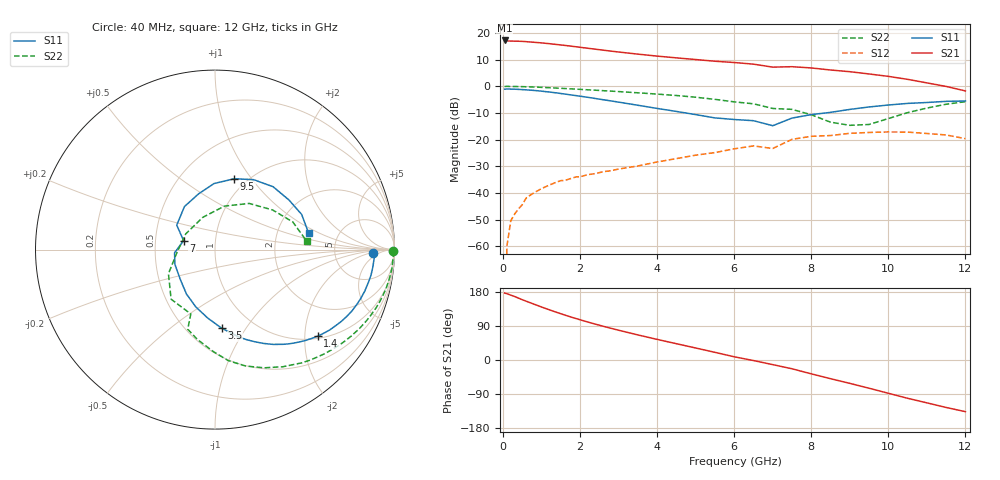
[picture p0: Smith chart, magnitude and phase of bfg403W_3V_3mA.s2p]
! Filename: 33bfg403.001
! BFG403W Field A1
! V1=8.743E-001V,V2=3.000E+000V, I1=4.126E-005A, I2=3.000E-003A
# GHz  S  MA  R 50
!  S11  S21  S12  S22
!Freq(GHz)  Mag  Ang  Mag  Ang  Mag  Ang  Mag  Ang
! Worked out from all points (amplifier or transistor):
!   44 points, 40 MHz to 12 GHz, reference 50 ohm
!   highest |S21| = 17.2 dB at 40 MHz (marker M1)
!   |S21| within 3 dB of that: start of sweep to 2.24 GHz
!   S11 on the Smith chart (normalised r, x): 40 MHz: 15, -3; 1.4 GHz: 1.06, -2.33; 3.5 GHz: 0.72, -0.78; 7 GHz: 0.70, +0.07; 9.5 GHz: 0.87, +0.83; 12 GHz: 3.04, +0.76
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0.04  0.882 -1.3  7.235 176.5  0 -3.6  0.991 -0.5
0.1  0.888 -3.1  7.088 175.0  0.001 93.2  0.994 -1.9
0.2  0.885 -6.1  7.054 171.1  0.003 85.2  0.992 -4.1
0.5  0.866 -15.4  6.954 159.1  0.006 78.3  0.983 -10.2
0.8  0.836 -24.2  6.69 147.4  0.01 73.1  0.967 -16.1
1.1  0.794 -32.4  6.402 136.2  0.013 68.1  0.946 -21.8
1.4  0.749 -40.1  6.069 125.5  0.016 64.1  0.923 -27.2
1.8  0.682 -49.7  5.612 112.2  0.019 59.7  0.891 -33.9
2.2  0.62 -58.4  5.164 100.2  0.022 57.0  0.858 -40.3
2.8  0.531 -70.8  4.566 83.7  0.026 54.3  0.811 -49.5
3.5  0.44 -85.1  4.006 66.2  0.032 52.1  0.754 -60.0
4.5  0.337 -108.5  3.41 43.0  0.044 46.6  0.671 -75.2
5.5  0.255 -139.3  2.948 20.2  0.057 36.5  0.568 -91.0
6.5  0.226 -175.4  2.6 -1.5  0.076 27.1  0.469 -108.9
7  0.182 164.0  2.286 -12.2  0.068 25.9  0.383 -110.6
7.5  0.253 147.4  2.329 -23.2  0.101 15.3  0.369 -131.5
8  0.294 125.4  2.207 -36.6  0.115 1.3  0.292 -152.7
8.5  0.324 106.3  2.019 -49.4  0.119 -10.3  0.212 -175.9
9.5  0.409 74.8  1.701 -74.5  0.136 -34.8  0.192 110.9
10.5  0.477 47.3  1.349 -101.0  0.138 -62.3  0.32 53.5
11.5  0.521 22.1  0.993 -125.3  0.122 -91.0  0.46 19.6
12  0.53 9.8  0.818 -136.3  0.104 -108.0  0.514 5.1
